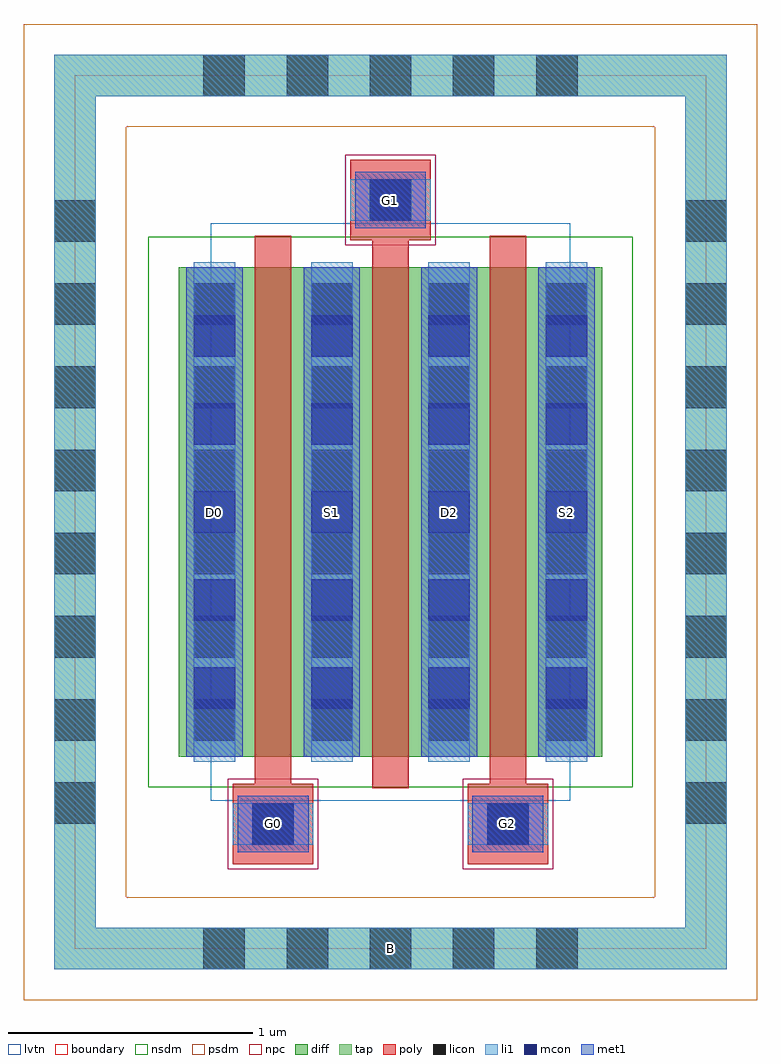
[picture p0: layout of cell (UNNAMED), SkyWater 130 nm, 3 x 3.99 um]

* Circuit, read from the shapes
.subckt (UNNAMED) B D0 D2 G0 G1 G2 S1 S2
XM1 S1 G0 D0 B sky130_fd_pr__nfet_01v8_lvt w=2 l=0.15
XM2 D2 G1 S1 B sky130_fd_pr__nfet_01v8_lvt w=2 l=0.15
XM3 S2 G2 D2 B sky130_fd_pr__nfet_01v8_lvt w=2 l=0.15
.ends

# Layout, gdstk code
import gdstk
lib = gdstk.Library(unit=1e-6, precision=1e-09)
def R(c, l, rs):  # rectangles x0, y0, x1, y1
    for r in rs: c.add(gdstk.rectangle(r[:2], r[2:], *l))
def A(c, l, x, y, w, h, nx, ny, dx, dy):  # array of equal rectangles
    R(c, l, [(x+i*dx, y+j*dy, x+i*dx+w, y+j*dy+h) for i in range(nx) for j in range(ny)])
diff = (65, 20)
tap = (65, 44)
poly = (66, 20)
licon = (66, 44)
li1 = (67, 20)
mcon = (67, 44)
met1 = (68, 20)
nsdm = (93, 44)
psdm = (94, 20)
npc = (95, 20)
lvtn = (125, 44)
boundary = (235, 4)

c__unnamed_ = lib.new_cell('(UNNAMED)')
R(c__unnamed_, diff, [(-0.865,-1,0.865,1)])
R(c__unnamed_, tap, [(-1.375,-1.87,1.375,-1.7), (-1.375,-1.7,-1.205,1.7), (1.205,-1.7,1.375,1.7), (-1.375,1.7,1.375,1.87)])
R(c__unnamed_, poly, [(-0.645,-1.44,-0.315,-1.11), (0.315,-1.44,0.645,-1.11), (-0.075,-1.13,0.075,1.11), (-0.555,-1.11,-0.405,1.13), (0.405,-1.11,0.555,1.13), (-0.165,1.11,0.165,1.44)])
A(c__unnamed_, licon, -0.765, -1.87, 0.17, 0.17, 5, 2, 0.34, 3.57)
A(c__unnamed_, licon, -1.375, -1.275, 0.17, 0.17, 1, 8, 0, 0.34)
A(c__unnamed_, licon, 1.205, -1.275, 0.17, 0.17, 1, 8, 0, 0.34)
A(c__unnamed_, licon, -0.805, -0.935, 0.17, 0.17, 4, 6, 0.48, 0.34)
R(c__unnamed_, licon, [(-0.565,-1.36,-0.395,-1.19), (0.395,-1.36,0.565,-1.19), (-0.085,1.19,0.085,1.36)])
A(c__unnamed_, li1, -0.805, -1.02, 0.17, 2.04, 4, 1, 0.48, 0)
R(c__unnamed_, li1, [(-1.375,-1.87,1.375,-1.7), (-1.375,-1.7,-1.205,1.7), (1.205,-1.7,1.375,1.7), (-0.645,-1.36,-0.315,-1.19), (0.315,-1.36,0.645,-1.19), (-0.165,1.19,0.165,1.36), (-1.375,1.7,1.375,1.87)])
A(c__unnamed_, mcon, -0.805, -0.805, 0.17, 0.17, 4, 5, 0.48, 0.36)
R(c__unnamed_, mcon, [(-0.565,-1.36,-0.395,-1.19), (0.395,-1.36,0.565,-1.19), (-0.085,1.19,0.085,1.36)])
A(c__unnamed_, met1, -0.835, -1, 0.23, 2, 4, 1, 0.48, 0)
R(c__unnamed_, met1, [(-0.625,-1.39,-0.335,-1.16), (0.335,-1.39,0.625,-1.16), (-0.145,1.16,0.145,1.39)])
R(c__unnamed_, nsdm, [(-0.99,-1.125,0.99,1.125)])
R(c__unnamed_, psdm, [(-1.5,-1.995,1.5,-1.575), (-1.5,-1.575,-1.08,1.575), (1.08,-1.575,1.5,1.575), (-1.5,1.575,1.5,1.995)])
R(c__unnamed_, npc, [(-0.665,-1.46,-0.295,-1.09), (0.295,-1.46,0.665,-1.09), (-0.185,1.09,0.185,1.46)])
R(c__unnamed_, lvtn, [(-0.735,-1.18,0.735,1.18)])
R(c__unnamed_, boundary, [(-1.29,-1.785,1.29,1.785)])
c__unnamed_.add(gdstk.Label('B', (0,-1.785), layer=67, texttype=5))
c__unnamed_.add(gdstk.Label('D0', (-0.72,0), layer=67, texttype=5))
c__unnamed_.add(gdstk.Label('G0', (-0.48,-1.275), layer=67, texttype=5))
c__unnamed_.add(gdstk.Label('S1', (-0.24,0), layer=67, texttype=5))
c__unnamed_.add(gdstk.Label('G1', (0,1.275), layer=67, texttype=5))
c__unnamed_.add(gdstk.Label('D2', (0.24,0), layer=67, texttype=5))
c__unnamed_.add(gdstk.Label('S2', (0.72,0), layer=67, texttype=5))
c__unnamed_.add(gdstk.Label('G2', (0.48,-1.275), layer=67, texttype=5))

lib.write_gds('_UNNAMED_.gds')
